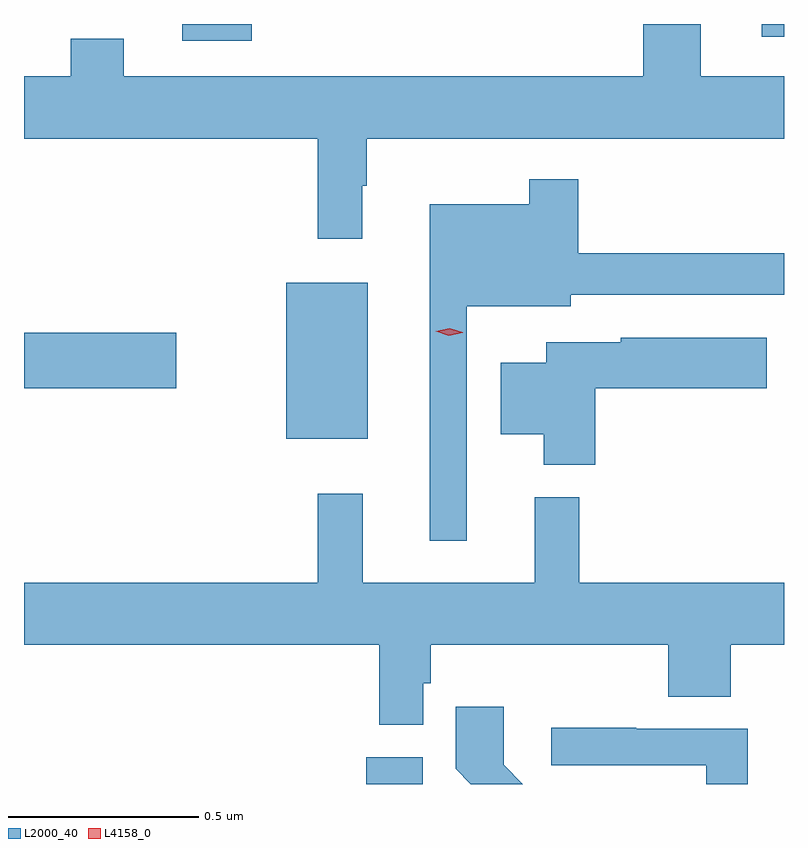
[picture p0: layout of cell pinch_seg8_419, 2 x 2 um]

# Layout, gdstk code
import gdstk
lib = gdstk.Library(unit=1e-6, precision=1e-09)
def R(c, l, rs):  # rectangles x0, y0, x1, y1
    for r in rs: c.add(gdstk.rectangle(r[:2], r[2:], *l))
def P(c, l, *ps):  # polygons
    for p in ps: c.add(gdstk.Polygon(p, *l))
L2000_40 = (2000, 40)
L4158_0 = (4158, 0)

pinch_seg8_419 = lib.new_cell('pinch_seg8_419')
R(pinch_seg8_419, L2000_40, [(539.192,1120.13,539.341,1120.201), (538.982,1121.039,539.197,1121.449), (538.292,1121.171,538.693,1121.318), (538.709,1122.086,538.891,1122.13), (540.233,1122.096,540.292,1122.13)])
P(pinch_seg8_419, L2000_40, [(539.182,1121.705),(539.194,1121.705),(539.194,1121.828),(540.292,1121.828),(540.292,1121.992),(540.073,1121.992),(540.073,1122.13),(539.921,1122.13),(539.921,1121.992),(538.555,1121.992),(538.555,1122.091),(538.415,1122.091),(538.415,1121.992),(538.292,1121.992),(538.292,1121.828),(539.065,1121.828),(539.065,1121.565),(539.182,1121.565)],
  [(539.457,1121.387),(539.731,1121.387),(539.731,1121.418),(540.292,1121.418),(540.292,1121.527),(539.75,1121.527),(539.75,1121.722),(539.622,1121.722),(539.622,1121.656),(539.36,1121.656),(539.36,1120.77),(539.457,1120.77)],
  [(539.795,1121.171),(540.247,1121.171),(540.247,1121.305),(539.862,1121.305),(539.862,1121.293),(539.666,1121.293),(539.666,1121.239),(539.546,1121.239),(539.546,1121.051),(539.66,1121.051),(539.66,1120.97),(539.795,1120.97)],
  [(539.343,1120.395),(539.363,1120.395),(539.363,1120.496),(539.987,1120.496),(539.987,1120.36),(540.152,1120.36),(540.152,1120.496),(540.292,1120.496),(540.292,1120.66),(539.753,1120.66),(539.753,1120.885),(539.636,1120.885),(539.636,1120.66),(539.183,1120.66),(539.183,1120.894),(539.065,1120.894),(539.065,1120.66),(538.292,1120.66),(538.292,1120.496),(539.227,1120.496),(539.227,1120.286),(539.343,1120.286)],
  [(539.554,1120.181),(539.554,1120.333),(539.428,1120.333),(539.428,1120.17),(539.468,1120.13),(539.605,1120.13)],
  [(540.196,1120.275),(539.903,1120.275),(539.903,1120.278),(539.679,1120.278),(539.679,1120.179),(540.087,1120.179),(540.087,1120.13),(540.196,1120.13)])
P(pinch_seg8_419, L4158_0, [(539.41,1121.31),(539.375,1121.322),(539.375,1121.322),(539.375,1121.322),(539.412,1121.33),(539.447,1121.319),(539.447,1121.318),(539.447,1121.318)])

lib.write_gds('pinch_seg8_419.gds')
